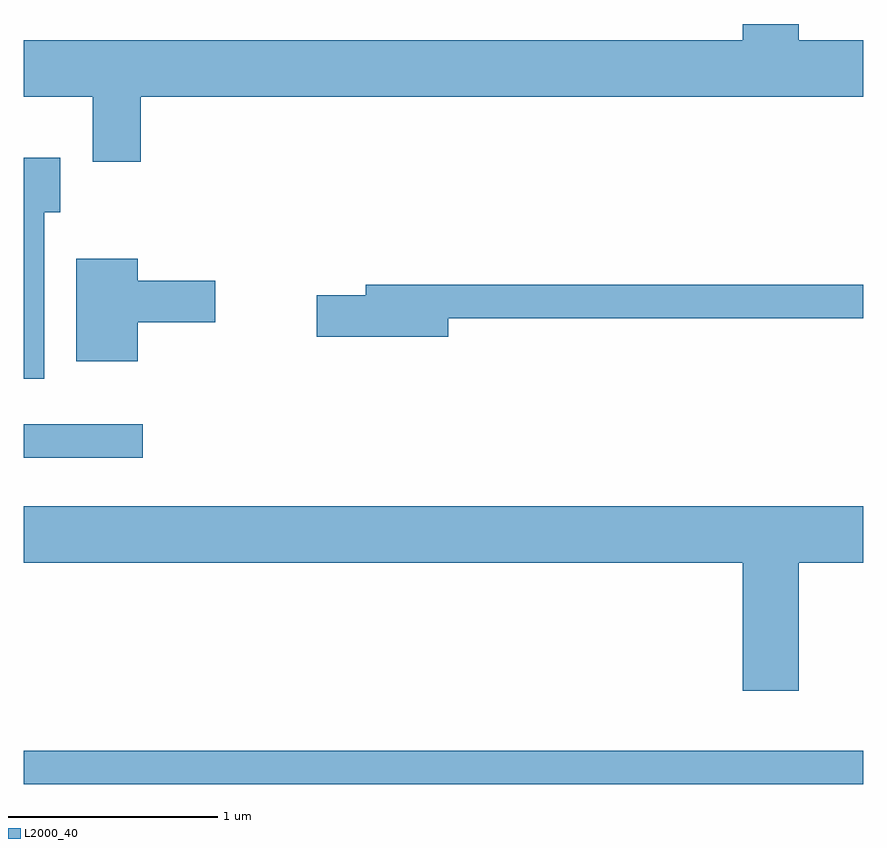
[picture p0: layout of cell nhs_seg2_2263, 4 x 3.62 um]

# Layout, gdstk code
import gdstk
lib = gdstk.Library(unit=1e-6, precision=1e-09)
def R(c, l, rs):  # rectangles x0, y0, x1, y1
    for r in rs: c.add(gdstk.rectangle(r[:2], r[2:], *l))
def P(c, l, *ps):  # polygons
    for p in ps: c.add(gdstk.Polygon(p, *l))
L2000_40 = (2000, 40)

nhs_seg2_2263 = lib.new_cell('nhs_seg2_2263')
R(nhs_seg2_2263, L2000_40, [(251.611,1016.181,255.611,1016.339), (251.611,1017.736,252.178,1017.894)])
P(nhs_seg2_2263, L2000_40, [(252.169,1019.456),(255.611,1019.456),(255.611,1019.724),(255.304,1019.724),(255.304,1019.802),(255.036,1019.802),(255.036,1019.724),(251.611,1019.724),(251.611,1019.456),(251.941,1019.456),(251.941,1019.146),(252.169,1019.146)],
  [(251.709,1018.906),(251.784,1018.906),(251.784,1019.164),(251.611,1019.164),(251.611,1018.111),(251.709,1018.111)],
  [(252.154,1018.381),(252.524,1018.381),(252.524,1018.579),(252.154,1018.579),(252.154,1018.684),(251.861,1018.684),(251.861,1018.196),(252.154,1018.196)],
  [(253.634,1018.401),(255.611,1018.401),(255.611,1018.559),(253.241,1018.559),(253.241,1018.509),(253.006,1018.509),(253.006,1018.311),(253.634,1018.311)],
  [(255.304,1017.236),(255.611,1017.236),(255.611,1017.504),(251.611,1017.504),(251.611,1017.236),(255.036,1017.236),(255.036,1016.626),(255.304,1016.626)])

lib.write_gds('nhs_seg2_2263.gds')
